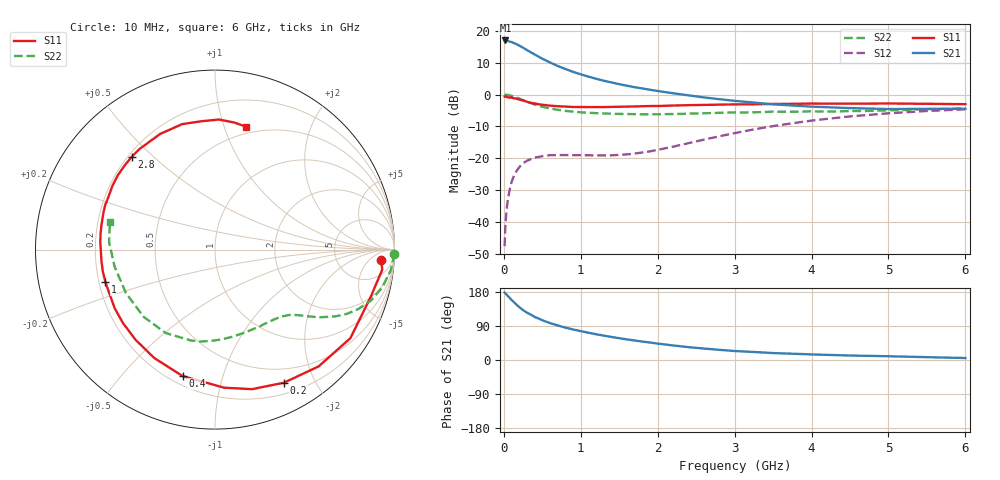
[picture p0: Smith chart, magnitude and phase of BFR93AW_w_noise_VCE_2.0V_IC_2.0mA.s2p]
! (c) 2017  Infineon Technologies AG, Munich
! Infineon Technologies  Discrete & RF Semiconductors
! BFR93AW
! VCE =  2.0 V,  IC =  2.0 mA
! Common Emitter S-Parameters:  Jan 2017
# GHz  S  MA  R  50
!  f  S11  S21  S12  S22
! GHz  MAG  ANG  MAG  ANG  MAG  ANG  MAG  ANG
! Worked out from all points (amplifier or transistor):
!   77 points, 10 MHz to 6 GHz, reference 50 ohm
!   highest |S21| = 17.0 dB at 20 MHz (marker M1)
!   |S21| within 3 dB of that: start of sweep to 300.2 MHz
!   unconditionally stable (mu >= 1): 1.26 GHz to 2.437 GHz
!   at 130 MHz: K = 0.11, MSG = 20.9 dB, |S12| = -25.6 dB
!   at 2.2 GHz: K = 1.08, MAG = 6.6 dB, |S12| = -16.3 dB
!   at 6 GHz: K = 0.98, MSG = 0.1 dB, |S12| = -4.6 dB
!   lowest NFmin = 1.49 dB at 450 MHz
!   S11 on the Smith chart (normalised r, x): 10 MHz: 16, -13; 200 MHz: 0.33, -1.60; 400 MHz: 0.25, -0.75; 1 GHz: 0.23, -0.14; 2.8 GHz: 0.21, +0.43; 6 GHz: 0.43, +1.19
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0.01  0.9289 -3.6  6.983 178.0  0.0042 90.7  1 -1.3
0.02  0.9384 -6.9  7.041 176.0  0.0087 92.1  0.9953 -2.8
0.05  0.9069 -16.8  6.929 169.2  0.0215 80.6  0.9863 -6.6
0.1  0.9014 -33.2  6.662 158.6  0.0422 72.1  0.9557 -12.7
0.15  0.87 -48.4  6.286 148.7  0.0594 63.9  0.9133 -18.2
0.2  0.8352 -62.6  5.85 139.7  0.0726 57.4  0.8645 -22.5
0.25  0.8046 -75.1  5.427 131.7  0.0838 51.3  0.8169 -26.0
0.3  0.7711 -86.2  4.986 125.0  0.0915 46.1  0.7704 -28.8
0.4  0.7273 -104.4  4.254 113.7  0.1026 39.4  0.6976 -32.7
0.5  0.6923 -119.3  3.647 104.9  0.1082 34.7  0.6429 -35.4
0.6  0.6697 -131.3  3.184 97.4  0.1119 31.5  0.6042 -37.4
0.8  0.6475 -149.6  2.515 85.5  0.1126 29.2  0.5547 -41.0
1  0.637 -163.5  2.074 76.1  0.1119 29.4  0.5273 -45.0
1.1  0.6367 -169.2  1.908 72.0  0.1118 30.7  0.5186 -47.0
1.3  0.6359 -179.2  1.645 64.3  0.1111 34.3  0.5053 -51.8
1.6  0.6467 168.4  1.373 54.3  0.1154 42.7  0.4954 -59.9
2.1  0.6661 151.3  1.091 40.9  0.144 56.6  0.4923 -75.5
2.8  0.6947 132.0  0.846 26.8  0.2212 63.1  0.5174 -98.4
3.1  0.7009 124.7  0.777 22.7  0.2624 61.5  0.5238 -107.9
4.1  0.7206 102.9  0.639 14.1  0.4024 50.3  0.5435 -140.3
5.1  0.7225 86.9  0.594 9.4  0.5164 35.2  0.5695 -173.2
6  0.7066 75.9  0.599 5.2  0.5866 22.0  0.6055 165.1
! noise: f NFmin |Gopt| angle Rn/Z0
0.45  1.49  0.44  71  0.2
0.9  1.76  0.41  128  0.21
1.9  3.23  0.56  -159  0.25
2.4  4.18  0.62  -139  0.45
